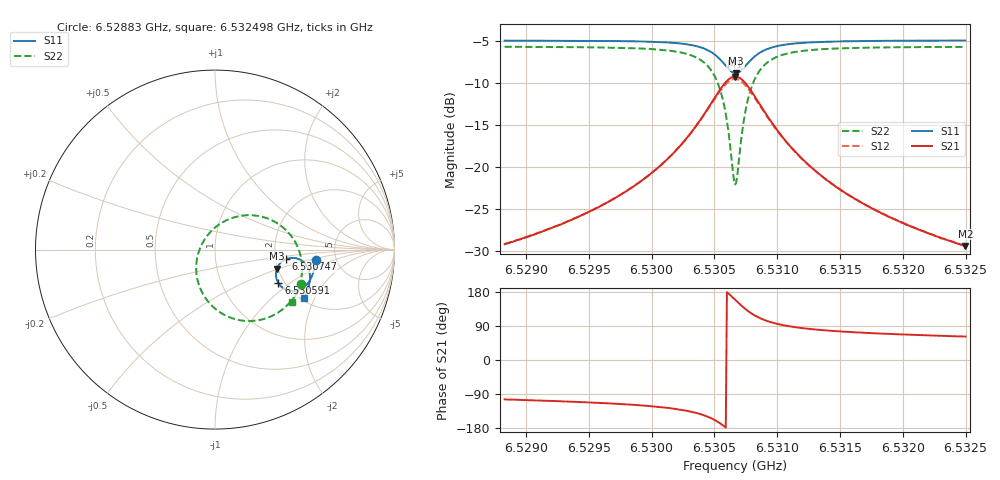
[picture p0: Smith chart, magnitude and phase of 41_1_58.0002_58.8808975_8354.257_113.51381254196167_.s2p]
#  HZ  S  RI  R  50.00
! Rohde & Schwarz Vector Network Analyzer
! Rohde-Schwarz,ZNB20-2Port,1311601062101988,3.16
! Created: UTC 3/21/2024, 12:52:05 AM
! freq[Hz]  re:S11  im:S11  re:S21  im:S21  re:S12  im:S12  re:S22  im:S22
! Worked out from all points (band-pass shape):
!   401 points, 6.52883 GHz to 6.532498 GHz, reference 50 ohm
!   highest |S21| = -9.24 dB at 6.530664 GHz (marker M1); lowest = -29.4 dB at 6.532498 GHz (marker M2)
!   |S21| within 3 dB of the highest: 6.530482 GHz to 6.530849 GHz (366.8 kHz wide, 0.00562 % of centre)
!   lowest |S11| = -8.8 dB at 6.530673 GHz (marker M3), VSWR 2.13, Z = 98.9 - j24.1 ohm
!   |S11| at or under -10 dB: nowhere
!   |S22| runs from -22.0 to -5.7 dB; largest |S21 - S12| = 0.015
!   S11 on the Smith chart (normalised r, x): 6.52883 GHz: 3.47, -0.60; 6.530591 GHz: 1.85, -0.83; 6.530747 GHz: 2.28, -0.29; 6.532498 GHz: 2.08, -1.66
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6.5288299e9  0.5608 -0.0594  -0.00838 -0.0339  -0.00927 -0.0338  0.4819 -0.1915
6.5294444e9  0.5512 -0.1127  -0.0189 -0.0485  -0.02 -0.0481  0.4489 -0.2533
6.5297746e9  0.5408 -0.1455  -0.0315 -0.0629  -0.0331 -0.0619  0.4158 -0.2964
6.5300589e9  0.5234 -0.1794  -0.0559 -0.0836  -0.0584 -0.0819  0.3604 -0.345
6.530279e9  0.4933 -0.2114  -0.103 -0.1072  -0.1064 -0.1033  0.2656 -0.3883
6.5304349e9  0.4436 -0.2308  -0.1828 -0.1139  -0.1854 -0.1057  0.1195 -0.3895
6.5305266e9  0.3921 -0.222  -0.2635 -0.0803  -0.2617 -0.0685  -0.0139 -0.3159
6.5305633e9  0.3689 -0.206  -0.2982 -0.0458  -0.293 -0.0334  -0.0655 -0.2503
6.5305908e9  0.3535 -0.1872  -0.3197 -0.00889  -0.3114 0.00274  -0.0934 -0.1841
6.5306458e9  0.3397 -0.1346  -0.3319 0.0876  -0.3188 0.0942  -0.0938 -0.0229
6.5306642e9  0.3426 -0.1153  -0.3231 0.1214  -0.3095 0.1256  -0.0728 0.0308
6.5306733e9  0.3455 -0.106  -0.3163 0.1377  -0.3027 0.1405  -0.0583 0.056
6.5306917e9  0.3542 -0.0887  -0.2978 0.1673  -0.285 0.1678  -0.0229 0.1011
6.53071e9  0.366 -0.0738  -0.2751 0.1922  -0.2631 0.1908  0.0193 0.1376
6.5307467e9  0.3951 -0.0539  -0.2218 0.2251  -0.2126 0.221  0.1133 0.1817
6.5308109e9  0.4451 -0.0471  -0.1336 0.2355  -0.1292 0.2312  0.2622 0.183
6.5309026e9  0.4916 -0.0675  -0.0548 0.2041  -0.0529 0.2016  0.3908 0.1128
6.5310402e9  0.52 -0.1052  -0.00632 0.1516  -0.00504 0.1507  0.4641 0.00631
6.5312786e9  0.5297 -0.1521  0.015 0.0976  0.0161 0.0972  0.4855 -0.1058
6.5315262e9  0.5267 -0.1852  0.0187 0.0691  0.0197 0.0689  0.4789 -0.1702
6.5318931e9  0.5168 -0.2224  0.0183 0.0473  0.0192 0.0471  0.4607 -0.2287
6.5324984e9  0.4959 -0.2714  0.0161 0.03  0.0167 0.0296  0.4292 -0.2895
